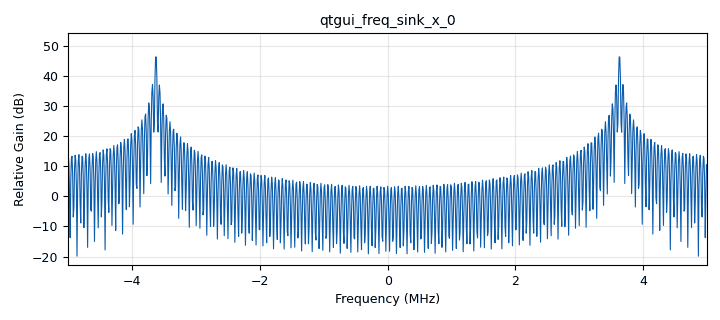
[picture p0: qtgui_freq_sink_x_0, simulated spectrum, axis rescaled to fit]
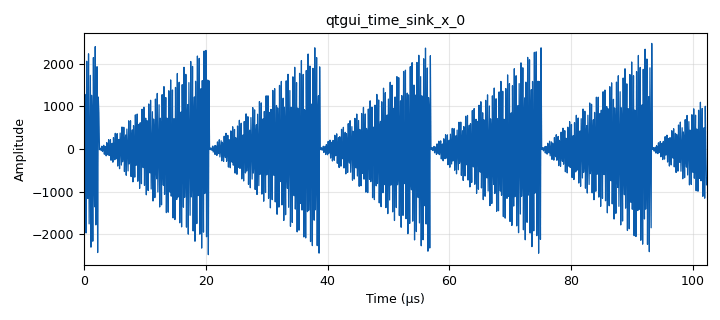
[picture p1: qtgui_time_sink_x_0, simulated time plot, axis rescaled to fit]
options:
  parameters:
    author: uis-e3t
    generate_options: qt_gui
    id: solucion
    output_language: python
    title: Not titled yet
  states: {}

blocks:
- name: Amplitud
  id: variable_qtgui_range
  parameters:
    orient: Qt.Horizontal
    start: '0'
    step: '1'
    stop: '100'
    value: '50'
  states: {}
- name: samp_rate
  id: variable
  parameters:
    value: 10e6
  states: {}
- name: Lab3_0
  id: Lab3
  parameters:
    l_vect: '1024'
  states: {}
- name: analog_sig_source_x_0
  id: analog_sig_source_x
  parameters:
    amp: Amplitud
    freq: '55000'
    offset: '0'
    phase: '0'
    samp_rate: samp_rate
    type: float
    waveform: analog.GR_SAW_WAVE
  states: {}
- name: analog_sig_source_x_0_0
  id: analog_sig_source_x
  parameters:
    amp: Amplitud
    freq: '3628000'
    offset: '0'
    phase: '0'
    samp_rate: samp_rate
    type: float
    waveform: analog.GR_COS_WAVE
  states: {}
- name: blocks_multiply_xx_0
  id: blocks_multiply_xx
  parameters:
    type: float
  states: {}
- name: qtgui_freq_sink_x_0
  id: qtgui_freq_sink_x
  parameters:
    bw: samp_rate
    fc: '0'
    fftsize: '1024'
    type: float
    wintype: firdes.WIN_BLACKMAN_hARRIS
  states: {}
- name: qtgui_time_sink_x_0
  id: qtgui_time_sink_x
  parameters:
    size: '1024'
    srate: samp_rate
    type: float
  states: {}

connections:
- [analog_sig_source_x_0, '0', blocks_multiply_xx_0, '0']
- [analog_sig_source_x_0_0, '0', blocks_multiply_xx_0, '1']
- [blocks_multiply_xx_0, '0', Lab3_0, '0']
- [blocks_multiply_xx_0, '0', qtgui_freq_sink_x_0, '0']
- [blocks_multiply_xx_0, '0', qtgui_time_sink_x_0, '0']

metadata:
  file_format: 1
